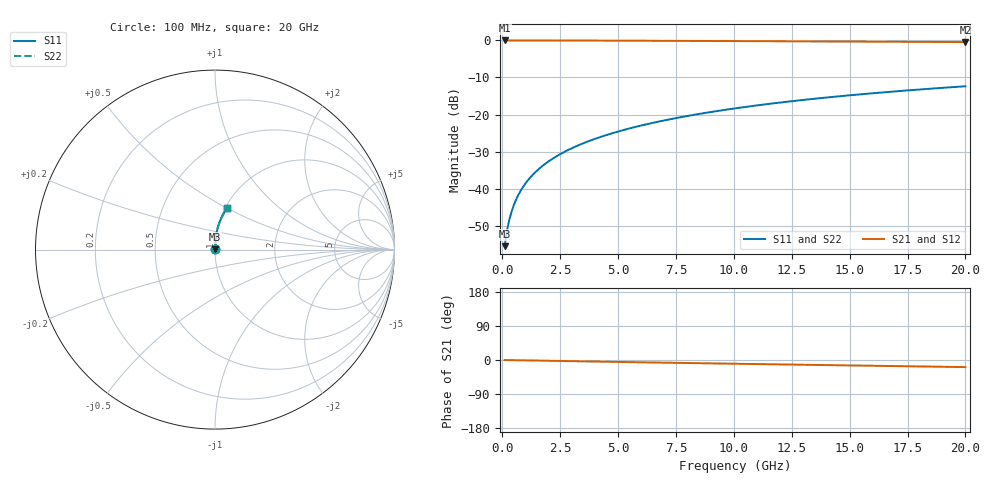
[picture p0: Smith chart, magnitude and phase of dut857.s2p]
! Touchstone file exported from HFSS 2024.1.0
!  File:  C:/UserFiles/LocalFiles/RDL_TSV_Batchsim/temp_RDL_bottom_857_1779864421.aedt
!  Generated:  02:49:38 PM May 27, 2026
!  Design:  RDL_bottom
!  Project:  temp_RDL_bottom_857_1779864421
!  Setup:  Setup1
!  Solution:  Sweep
! Variables:
!  dtsv = 10.80580581um
!  hbump = 3um
!  htsv = 56.58um
!  ldown = 194.71um
!  lrdl = 100um
!  p = 40
!  p1 = 59.23um
!  rhole = 1um
!  t = 450um
!  tdown = 4.14um
!  trdl = 3.915915916um
!  wdown = 16.58um
!  wrdl = 20um
# GHz S MA R 50.000000
! Terminal data exported
! Port[1] = RDL1_T1
! Port[2] = RDL1_T2
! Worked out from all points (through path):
!   200 points, 100 MHz to 20 GHz, reference 50 ohm
!   highest |S21| = -0.01 dB at 100 MHz (marker M1); lowest = -0.4 dB at 20 GHz (marker M2)
!   group delay of S21, straight-line fit = 2.58 ps
!   lowest |S11| = -55.5 dB at 100 MHz (marker M3), VSWR 1.00, Z = 50.1 + j0.121 ohm
!   |S11| at or under -10 dB: start of sweep to end of sweep
!   |S22| runs from -55.5 to -12.4 dB; largest |S21 - S12| = 2.8e-15
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0.1  0.001674 46.2  0.9988 -0.1  0.9988 -0.1  0.001674 46.2
! Gamma 0 0 0 0
! Port Impedance 50 0 50 0
0.2  0.002677 63.5  0.9988 -0.2  0.9988 -0.2  0.002677 63.5
0.3  0.003771 71.0  0.9987 -0.3  0.9987 -0.3  0.003771 71.0
0.4  0.004888 75.1  0.9987 -0.4  0.9987 -0.4  0.004888 75.1
0.5  0.006016 77.7  0.9986 -0.5  0.9986 -0.5  0.006016 77.7
0.7  0.008292 80.8  0.9985 -0.7  0.9985 -0.7  0.008292 80.8
0.8  0.009437 81.8  0.9985 -0.8  0.9985 -0.8  0.009437 81.8
1  0.01174 83.2  0.9984 -1.1  0.9984 -1.1  0.01174 83.2
1.2  0.01404 84.2  0.9982 -1.3  0.9982 -1.3  0.01404 84.2
1.4  0.01636 84.8  0.9981 -1.5  0.9981 -1.5  0.01636 84.8
1.7  0.01984 85.5  0.9978 -1.8  0.9978 -1.8  0.01984 85.5
2  0.02333 86.0  0.9975 -2.1  0.9975 -2.1  0.02333 86.0
2.7  0.03153 86.5  0.9966 -2.8  0.9966 -2.8  0.03153 86.5
3.5  0.04098 86.6  0.9953 -3.6  0.9953 -3.6  0.04098 86.6
4.2  0.04932 86.6  0.994 -4.3  0.994 -4.3  0.04932 86.6
5  0.05895 86.3  0.9923 -5.1  0.9923 -5.1  0.05895 86.3
6.8  0.0809 85.4  0.9882 -6.9  0.9882 -6.9  0.08089 85.4
8.3  0.0994 84.3  0.9844 -8.3  0.9844 -8.3  0.0994 84.3
10.1  0.1217 82.9  0.9796 -10.0  0.9796 -10.0  0.1217 82.9
13.4  0.1623 80.0  0.9704 -12.9  0.9704 -12.9  0.1623 80.0
16.7  0.2021 76.9  0.9604 -15.9  0.9604 -15.9  0.2021 76.9
20  0.2407 73.9  0.9497 -18.7  0.9497 -18.7  0.2406 73.9
